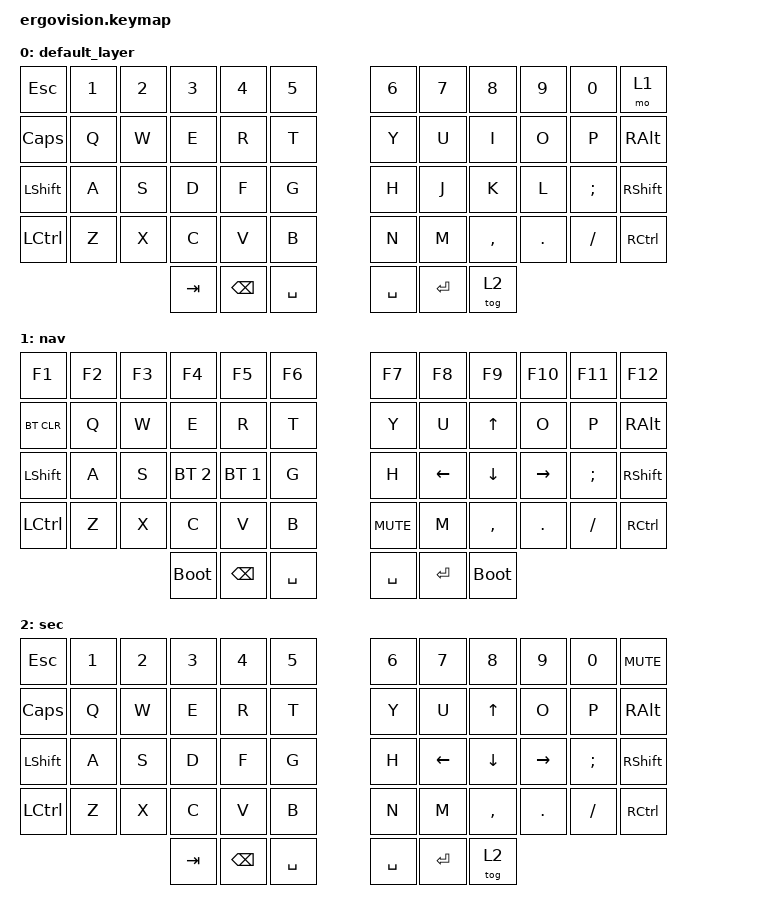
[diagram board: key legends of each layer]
/*
 * Copyright (c) 2020 ZMK Contributors
 *
 * SPDX-License-Identifier: MIT
 */

#include <behaviors.dtsi>
#include <dt-bindings/zmk/keys.h>
#include <dt-bindings/zmk/bt.h>
#include <behaviors/mouse_move.dtsi>
#include <dt-bindings/zmk/mouse.h>
#include <dt-bindings/zmk/outputs.h>
#include <behaviors/mouse_keys.dtsi>
#include <input/processors.dtsi>


#define DEF 0;
#define NAV 1;
#define SEC 2;
/ {
    keymap {
        compatible = "zmk,keymap";

        default_layer {
            bindings = <
                &kp ESC      &kp N1     &kp N2     &kp N3     &kp N4     &kp N5              &kp N6     &kp N7     &kp N8     &kp N9     &kp N0     &mo 1
                &kp CAPSLOCK &kp Q      &kp W      &kp E      &kp R      &kp T               &kp Y      &kp U      &kp I      &kp O      &kp P      &kp RALT
                &kp LSHIFT   &kp A      &kp S      &kp D      &kp F      &kp G               &kp H      &kp J      &kp K      &kp L      &kp SEMI   &kp RSHIFT
                &kp LCTRL    &kp Z      &kp X      &kp C      &kp V      &kp B               &kp N      &kp M      &kp COMMA  &kp DOT    &kp SLASH  &kp RCTRL
                                                   &kp TAB    &kp BSPC   &kp SPACE           &kp SPACE  &kp ENTER  &tog 2
            
            >;
        };
        nav {
            bindings = < 
                &kp F1     &kp F2  &kp F3  &kp F4    &kp F5      &kp F6                      &kp F7     &kp F8     &kp F9     &kp F10    &kp F11    &kp F12
                &bt BT_CLR &kp Q   &kp W   &kp E     &kp R       &kp T                       &kp Y      &kp U      &kp UP     &kp O      &kp P      &kp RALT
                &kp LSHIFT &kp A   &kp S   &bt BT_SEL 2 &bt BT_SEL 1 &kp G                   &kp H      &kp LEFT   &kp DOWN   &kp RIGHT  &kp SEMI   &kp RSHIFT
                &kp LCTRL  &kp Z   &kp X   &kp C     &kp V      &kp B                        &kp K_MUTE &kp M      &kp COMMA  &kp DOT    &kp SLASH  &kp RCTRL
                                           &bootloader   &kp BSPC   &kp SPACE                    &kp SPACE  &kp ENTER  &bootloader
            >;
        };
        sec {
            bindings = <
                &kp ESC      &kp N1     &kp N2     &kp N3     &kp N4     &kp N5              &kp N6     &kp N7     &kp N8     &kp N9     &kp N0     &kp K_MUTE
                &kp CAPSLOCK &kp Q      &kp W      &kp E      &kp R      &kp T               &kp Y      &kp U      &kp UP     &kp O      &kp P      &kp RALT
                &kp LSHIFT   &kp A      &kp S      &kp D      &kp F      &kp G               &kp H      &kp LEFT   &kp DOWN   &kp RIGHT  &kp SEMI   &kp RSHIFT
                &kp LCTRL    &kp Z      &kp X      &kp C      &kp V      &kp B               &kp N      &kp M      &kp COMMA  &kp DOT    &kp SLASH  &kp RCTRL
                                                   &kp TAB    &kp BSPC   &kp SPACE           &kp SPACE  &kp ENTER  &tog 2 
            >;
        };
    };
};
